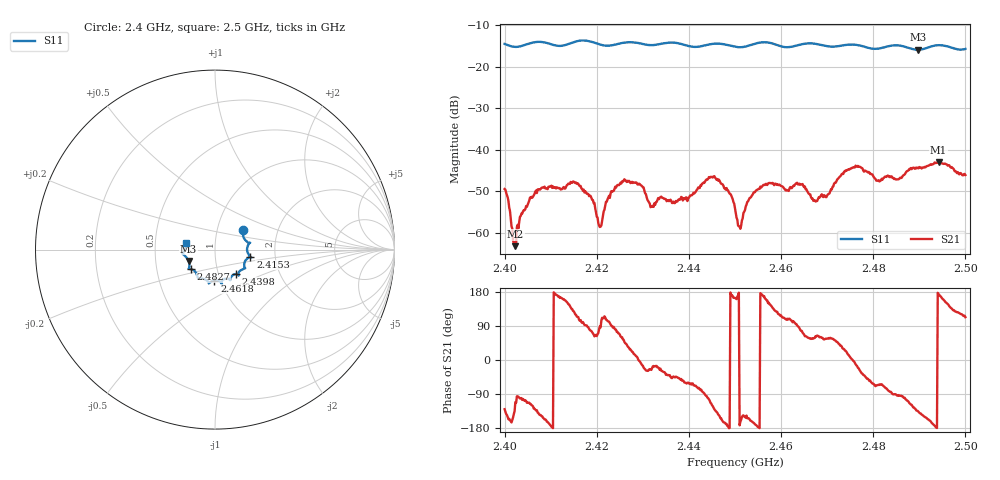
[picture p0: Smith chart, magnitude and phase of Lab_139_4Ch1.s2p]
# Hz S RI R 50
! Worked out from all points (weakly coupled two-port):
!   601 points, 2.4 GHz to 2.5 GHz, reference 50 ohm
!   highest |S21| = -42.91 dB at 2.4942 GHz (marker M1); lowest = -63.2 dB at 2.4023 GHz (marker M2)
!   lowest |S11| = -15.9 dB at 2.4897 GHz (marker M3), VSWR 1.38, Z = 36.9 - j4.84 ohm
!   |S11| at or under -10 dB: start of sweep to end of sweep
!   S12 and S22 are empty: the file has one direction only
!   S11 on the Smith chart (normalised r, x): 2.4 GHz: 1.33, +0.30; 2.4153 GHz: 1.48, -0.12; 2.4398 GHz: 1.21, -0.34; 2.4618 GHz: 0.94, -0.33; 2.4827 GHz: 0.75, -0.17; 2.5 GHz: 0.72, +0.06
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2.4e9  0.1553 0.1069  -0.00216 -0.00259  0 0  0 0
2.402333e9  0.1593 0.0688  -0.00025 -0.000644  0 0  0 0
2.403833e9  0.1723 0.0488  -0.000454 -0.00165  0 0  0 0
2.407e9  0.1956 0.038  -0.00203 -0.00222  0 0  0 0
2.415333e9  0.197 -0.0392  -0.00202 0.00343  0 0  0 0
2.416667e9  0.2028 -0.0433  -0.000589 0.00337  0 0  0 0
2.420667e9  0.1785 -0.0505  2.56e-05 0.00117  0 0  0 0
2.425667e9  0.1662 -0.1005  0.00239 0.00336  0 0  0 0
2.433333e9  0.1297 -0.1338  0.00247 -0.00089  0 0  0 0
2.439833e9  0.1154 -0.1359  0.00132 -0.00226  0 0  0 0
2.445167e9  0.0836 -0.1693  -0.00242 -0.00395  0 0  0 0
2.45e9  0.0651 -0.1619  -0.00189 0.000561  0 0  0 0
2.451167e9  0.0524 -0.1639  -0.00107 -0.000338  0 0  0 0
2.455e9  0.0362 -0.1905  -0.00334 -0.000155  0 0  0 0
2.461833e9  -0.00298 -0.1729  -0.00111 0.00325  0 0  0 0
2.466667e9  -0.0346 -0.1882  0.00144 0.00215  0 0  0 0
2.476167e9  -0.0957 -0.1573  0.00632 -0.00123  0 0  0 0
2.482667e9  -0.135 -0.1087  0.00133 -0.00457  0 0  0 0
2.483333e9  -0.1401 -0.1082  0.000718 -0.00476  0 0  0 0
2.489667e9  -0.147 -0.0639  -0.00422 -0.0043  0 0  0 0
2.494167e9  -0.1809 -0.0218  -0.00711 0.00073  0 0  0 0
2.5e9  -0.1592 0.0388  -0.00194 0.00457  0 0  0 0
